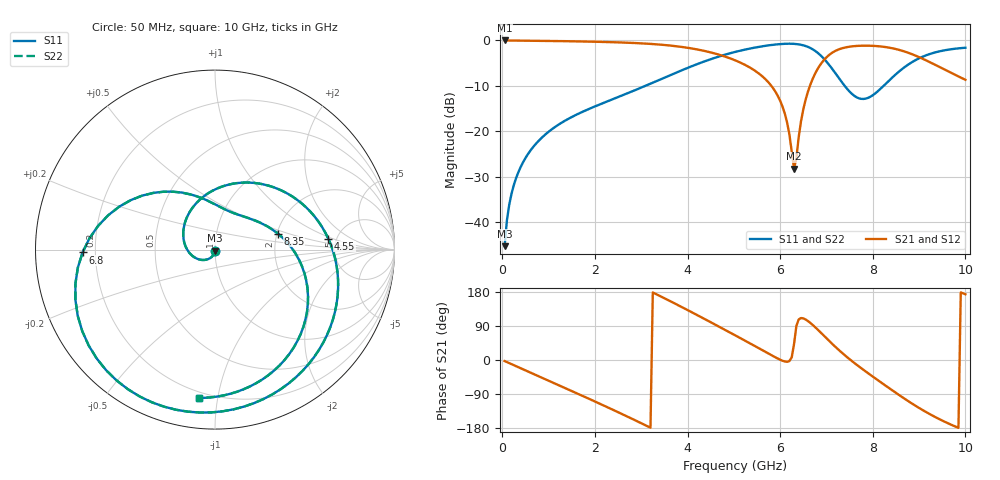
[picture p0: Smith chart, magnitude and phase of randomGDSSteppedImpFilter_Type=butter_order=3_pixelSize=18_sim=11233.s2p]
! freq	dB(S11)	phase(S11)	dB(S12)	phase(S12)
!  dB(S21)	phase(S21)	dB(S22)	phase(S22)
!S-par simulation data
#  GHz  S  DB  R 50
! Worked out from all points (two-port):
!   200 points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, 50 MHz to 10 GHz, reference 50 ohm
!   highest |S21| = -0.01 dB at 50 MHz (marker M1); lowest = -28.2 dB at 6.3 GHz (marker M2)
!   |S21| within 3 dB of the highest: start of sweep to 4.637 GHz; 7.082 GHz to 8.843 GHz (1.761 GHz wide, 22.1 % of centre)
!   lowest |S11| = -45.2 dB at 50 MHz (marker M3), VSWR 1.01, Z = 50 - j0.549 ohm
!   |S11| at or under -10 dB: start of sweep to 3.086 GHz; 7.395 GHz to 8.233 GHz (837.6 MHz wide, 10.7 % of centre)
!   |S22| runs from -45.2 to -0.7 dB; largest |S21 - S12| = 0
!   S11 on the Smith chart (normalised r, x): 50 MHz: 1.00, -0.01; 4.55 GHz: 4.28, +0.87; 6.8 GHz: 0.15, -0.01; 8.35 GHz: 2.02, +0.41; 10 GHz: 0.16, -0.88
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0.05  -45.21 -88.5  -0.01 -2.8  -0.01 -2.8  -45.21 -88.4
0.2  -33.65 -100.3  -0.02 -10.9  -0.02 -10.9  -33.65 -100.3
0.5  -25.85 -117.6  -0.05 -27.2  -0.05 -27.2  -25.85 -117.6
1.15  -18.94 -153.6  -0.13 -62.6  -0.13 -62.6  -18.94 -153.5
1.75  -15.61 173.2  -0.23 -95.5  -0.23 -95.5  -15.60 173.3
2.65  -11.84 122.3  -0.48 -146.3  -0.48 -146.3  -11.84 122.5
3.4  -8.63 78.0  -0.91 169.2  -0.91 169.2  -8.63 78.0
4  -6.04 40.8  -1.61 131.9  -1.61 131.9  -6.04 40.8
4.55  -3.96 5.5  -2.76 96.5  -2.76 96.5  -3.96 5.5
5.05  -2.47 -27.2  -4.46 63.7  -4.46 63.7  -2.47 -27.2
5.95  -0.85 -91.1  -12.20 3.7  -12.20 3.7  -0.85 -91.1
6.15  -0.72 -108.0  -18.04 -4.7  -18.04 -4.7  -0.72 -108.0
6.3  -0.75 -121.9  -28.20 42.1  -28.20 42.1  -0.75 -122.0
6.5  -1.08 -142.8  -15.15 109.8  -15.15 109.8  -1.08 -142.8
6.7  -1.93 -166.3  -8.50 92.9  -8.50 92.9  -1.93 -166.3
6.8  -2.64 -178.8  -6.43 81.5  -6.43 81.5  -2.64 -178.7
7.1  -5.92 143.5  -2.87 45.4  -2.87 45.4  -5.92 143.7
7.55  -11.75 92.4  -1.30 -2.8  -1.30 -2.8  -11.74 92.8
8  -12.05 46.0  -1.19 -43.8  -1.19 -43.8  -12.05 46.4
8.35  -8.84 14.3  -1.58 -74.0  -1.58 -74.0  -8.85 14.5
9.05  -3.69 -41.1  -3.90 -130.2  -3.90 -130.2  -3.69 -41.0
10  -1.60 -96.2  -8.65 173.4  -8.65 173.4  -1.60 -96.2
